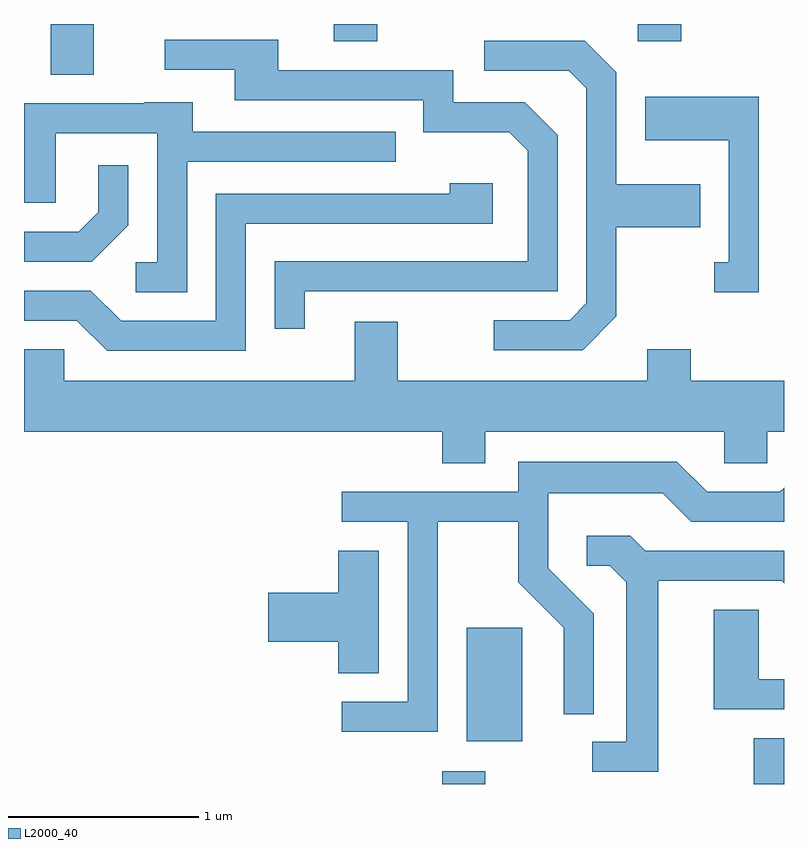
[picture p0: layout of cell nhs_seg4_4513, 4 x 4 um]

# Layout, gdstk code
import gdstk
lib = gdstk.Library(unit=1e-6, precision=1e-09)
def R(c, l, rs):  # rectangles x0, y0, x1, y1
    for r in rs: c.add(gdstk.rectangle(r[:2], r[2:], *l))
def P(c, l, *ps):  # polygons
    for p in ps: c.add(gdstk.Polygon(p, *l))
L2000_40 = (2000, 40)

nhs_seg4_4513 = lib.new_cell('nhs_seg4_4513')
R(nhs_seg4_4513, L2000_40, [(319.811,1303.982,320.039,1304.049), (321.451,1303.982,321.611,1304.224), (319.941,1304.206,320.234,1304.804), (317.751,1307.716,317.979,1307.982), (319.241,1307.891,319.469,1307.982), (320.841,1307.891,321.069,1307.982)])
P(nhs_seg4_4513, L2000_40, [(319.089,1306.576),(320.419,1306.576),(320.419,1307.397),(320.247,1307.569),(319.869,1307.569),(319.869,1307.739),(318.949,1307.739),(318.949,1307.899),(318.353,1307.899),(318.353,1307.741),(318.721,1307.741),(318.721,1307.581),(319.711,1307.581),(319.711,1307.411),(320.164,1307.411),(320.261,1307.314),(320.261,1306.734),(318.931,1306.734),(318.931,1306.378),(319.089,1306.378)],
  [(320.729,1306.444),(320.729,1306.911),(321.169,1306.911),(321.169,1307.139),(320.729,1307.139),(320.729,1307.727),(320.562,1307.894),(320.033,1307.894),(320.033,1307.736),(320.479,1307.736),(320.571,1307.644),(320.571,1306.512),(320.484,1306.424),(320.083,1306.424),(320.083,1306.266),(320.552,1306.266)],
  [(321.479,1307.599),(320.881,1307.599),(320.881,1307.371),(321.321,1307.371),(321.321,1306.729),(321.243,1306.729),(321.243,1306.571),(321.479,1306.571)],
  [(318.469,1307.256),(319.568,1307.256),(319.568,1307.414),(318.499,1307.414),(318.499,1307.569),(318.245,1307.569),(318.245,1307.564),(317.611,1307.564),(317.611,1307.041),(317.779,1307.041),(317.779,1307.406),(318.311,1307.406),(318.311,1306.729),(318.198,1306.729),(318.198,1306.571),(318.469,1306.571)],
  [(318.159,1306.924),(318.159,1307.238),(318.001,1307.238),(318.001,1306.992),(317.899,1306.889),(317.611,1306.889),(317.611,1306.731),(317.967,1306.731)],
  [(318.779,1306.931),(320.079,1306.931),(320.079,1307.144),(319.851,1307.144),(319.851,1307.089),(318.621,1307.089),(318.621,1306.419),(318.122,1306.419),(317.962,1306.579),(317.611,1306.579),(317.611,1306.421),(317.889,1306.421),(318.049,1306.261),(318.779,1306.261)],
  [(319.579,1306.414),(319.351,1306.414),(319.351,1306.104),(317.824,1306.104),(317.824,1306.269),(317.611,1306.269),(317.611,1305.836),(319.811,1305.836),(319.811,1305.671),(320.039,1305.671),(320.039,1305.836),(321.296,1305.836),(321.296,1305.671),(321.524,1305.671),(321.524,1305.836),(321.611,1305.836),(321.611,1306.104),(321.119,1306.104),(321.119,1306.269),(320.891,1306.269),(320.891,1306.104),(319.579,1306.104)],
  [(319.789,1305.361),(320.211,1305.361),(320.211,1305.044),(320.451,1304.804),(320.451,1304.348),(320.609,1304.348),(320.609,1304.877),(320.369,1305.117),(320.369,1305.511),(320.974,1305.511),(321.124,1305.361),(321.611,1305.361),(321.611,1305.541),(321.589,1305.519),(321.207,1305.519),(321.047,1305.679),(320.211,1305.679),(320.211,1305.519),(319.283,1305.519),(319.283,1305.361),(319.631,1305.361),(319.631,1304.414),(319.283,1304.414),(319.283,1304.256),(319.789,1304.256)],
  [(320.949,1305.051),(321.599,1305.051),(321.611,1305.039),(321.611,1305.209),(320.882,1305.209),(320.802,1305.289),(320.573,1305.289),(320.573,1305.131),(320.694,1305.131),(320.781,1305.044),(320.781,1304.204),(320.603,1304.204),(320.603,1304.046),(320.949,1304.046)],
  [(319.479,1305.209),(319.266,1305.209),(319.266,1304.989),(318.896,1304.989),(318.896,1304.731),(319.266,1304.731),(319.266,1304.566),(319.479,1304.566)],
  [(321.611,1304.534),(321.479,1304.534),(321.479,1304.899),(321.241,1304.899),(321.241,1304.376),(321.611,1304.376)])

lib.write_gds('nhs_seg4_4513.gds')
